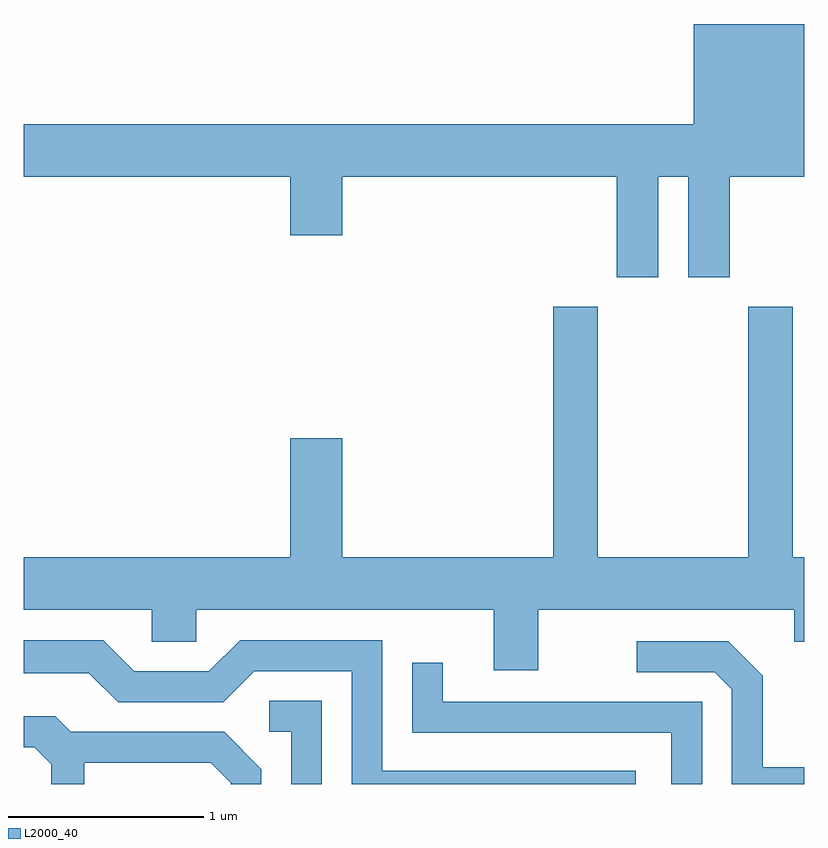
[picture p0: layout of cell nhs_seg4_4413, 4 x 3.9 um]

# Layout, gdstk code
import gdstk
lib = gdstk.Library(unit=1e-6, precision=1e-09)
def P(c, l, *ps):  # polygons
    for p in ps: c.add(gdstk.Polygon(p, *l))
L2000_40 = (2000, 40)

nhs_seg4_4413 = lib.new_cell('nhs_seg4_4413')
P(nhs_seg4_4413, L2000_40, [(316.864,1379.096),(317.016,1379.096),(317.016,1378.581),(317.229,1378.581),(317.229,1379.096),(317.611,1379.096),(317.611,1379.879),(317.046,1379.879),(317.046,1379.364),(313.611,1379.364),(313.611,1379.096),(314.976,1379.096),(314.976,1378.796),(315.244,1378.796),(315.244,1379.096),(316.651,1379.096),(316.651,1378.581),(316.864,1378.581)],
  [(316.249,1376.876),(317.561,1376.876),(317.561,1376.711),(317.611,1376.711),(317.611,1377.144),(317.554,1377.144),(317.554,1378.429),(317.326,1378.429),(317.326,1377.144),(316.554,1377.144),(316.554,1378.429),(316.326,1378.429),(316.326,1377.144),(315.244,1377.144),(315.244,1377.754),(314.976,1377.754),(314.976,1377.144),(313.611,1377.144),(313.611,1376.876),(314.266,1376.876),(314.266,1376.711),(314.494,1376.711),(314.494,1376.876),(316.021,1376.876),(316.021,1376.566),(316.249,1376.566)],
  [(316.749,1376.049),(315.449,1376.049),(315.449,1376.719),(314.719,1376.719),(314.559,1376.559),(314.177,1376.559),(314.017,1376.719),(313.611,1376.719),(313.611,1376.551),(313.944,1376.551),(314.094,1376.401),(314.632,1376.401),(314.792,1376.561),(315.291,1376.561),(315.291,1375.982),(316.749,1375.982)],
  [(317.611,1376.069),(317.399,1376.069),(317.399,1376.537),(317.222,1376.714),(316.753,1376.714),(316.753,1376.556),(317.154,1376.556),(317.241,1376.469),(317.241,1375.982),(317.611,1375.982)],
  [(317.089,1376.404),(315.759,1376.404),(315.759,1376.603),(315.601,1376.603),(315.601,1376.246),(316.931,1376.246),(316.931,1375.982),(317.089,1375.982)],
  [(315.139,1376.409),(314.868,1376.409),(314.868,1376.251),(314.981,1376.251),(314.981,1375.982),(315.139,1375.982)],
  [(313.919,1376.091),(314.569,1376.091),(314.671,1375.989),(314.671,1375.982),(314.829,1375.982),(314.829,1376.057),(314.637,1376.249),(313.852,1376.249),(313.772,1376.329),(313.611,1376.329),(313.611,1376.171),(313.664,1376.171),(313.751,1376.084),(313.751,1375.982),(313.919,1375.982)])

lib.write_gds('nhs_seg4_4413.gds')
